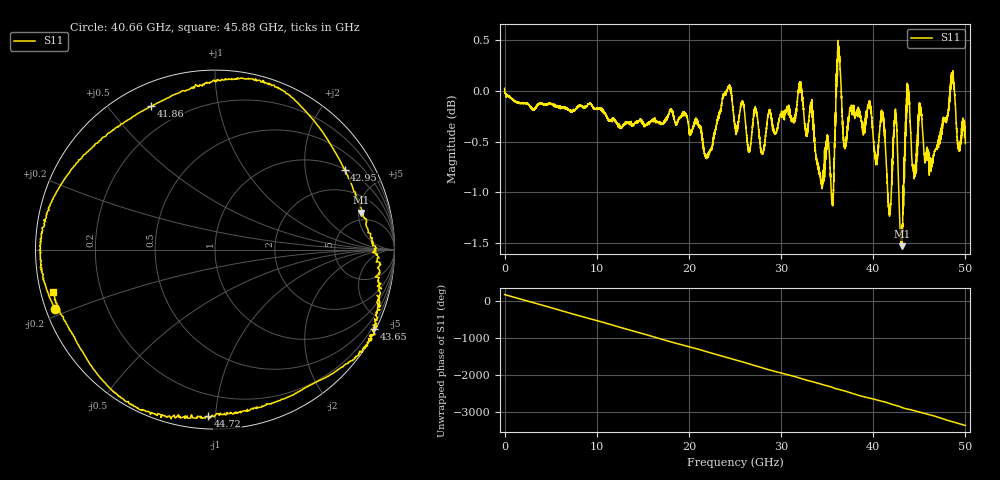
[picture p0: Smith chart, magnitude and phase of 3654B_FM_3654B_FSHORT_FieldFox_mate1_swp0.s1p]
!Created with skrf (http://scikit-rf.org).
# Hz S RI R 50.0
!freq ReS11 ImS11
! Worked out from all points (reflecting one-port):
!   10000 points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, 5.3 MHz to 50 GHz, reference 50 ohm
!   lowest |S11| = -1.5 dB at 43.12 GHz (marker M1), VSWR 11.39, Z = 191 + j266 ohm
!   phase of S11 starts at 180 deg and turns -3529 deg over the sweep
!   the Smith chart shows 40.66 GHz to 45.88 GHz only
!   S11 on the Smith chart (normalised r, x): 40.66 GHz: 0.03, -0.18; 41.86 GHz: 0.10, +0.65; 42.95 GHz: 1.02, +3.23; 43.65 GHz: 0.08, -4.27; 44.72 GHz: 0.07, -0.96; 45.88 GHz: 0.04, -0.13
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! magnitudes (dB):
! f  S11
! 5.3 MHz  0.0
! 6.255 GHz  -0.2
! 12.51 GHz  -0.4
! 18.76 GHz  -0.3
! 21.99 GHz  -0.6
! 24.33 GHz  0.0
! 25.01 GHz  -0.3
! 31.26 GHz  -0.3
! 32.1 GHz  0.1
! 35.53 GHz  -1.1
! 36.2 GHz  0.4
! 36.89 GHz  -0.6
! 37.51 GHz  -0.2
! 40.66 GHz  -0.4
! 41.06 GHz  -0.3
! 41.86 GHz  -1.2
! 42.4 GHz  -0.2
! 42.95 GHz  -1.4
! 43.12 GHz  -1.5
! 43.65 GHz  -0.1
! 43.76 GHz  0.0
! 44.38 GHz  -0.8
! 44.72 GHz  -0.6
! 45.12 GHz  -0.2
! 45.88 GHz  -0.6
! 48.58 GHz  0.2
! 49.26 GHz  -0.6
! 50 GHz  -0.5
